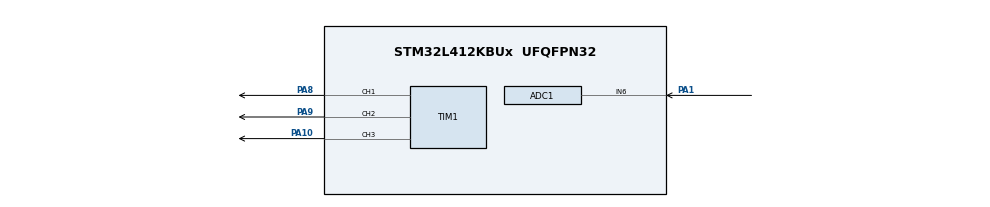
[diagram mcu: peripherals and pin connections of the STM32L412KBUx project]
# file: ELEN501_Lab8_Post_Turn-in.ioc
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ADC1.Channel-4\#ChannelRegularConversion=ADC_CHANNEL_6
ADC1.ExternalTrigConv=ADC_EXTERNALTRIG_T6_TRGO
ADC1.NbrOfConversionFlag=1
ADC1.OffsetNumber-4\#ChannelRegularConversion=ADC_OFFSET_NONE
ADC1.Rank-4\#ChannelRegularConversion=1
ADC1.SamplingTime-4\#ChannelRegularConversion=ADC_SAMPLETIME_2CYCLES_5
ADC1.master=1
Dma.ADC1.0.Direction=DMA_PERIPH_TO_MEMORY
Dma.ADC1.0.Instance=DMA1_Channel1
Dma.ADC1.0.MemDataAlignment=DMA_MDATAALIGN_HALFWORD
Dma.ADC1.0.MemInc=DMA_MINC_ENABLE
Dma.ADC1.0.Mode=DMA_NORMAL
Dma.ADC1.0.PeriphDataAlignment=DMA_PDATAALIGN_HALFWORD
Dma.ADC1.0.PeriphInc=DMA_PINC_DISABLE
Dma.ADC1.0.Priority=DMA_PRIORITY_LOW
Dma.Request0=ADC1
Mcu.Family=STM32L4
Mcu.Name=STM32L412KBUx
Mcu.Package=UFQFPN32
NVIC.ADC1_2_IRQn=true\:0\:0\:false\:false\:true\:true\:true
NVIC.DMA1_Channel1_IRQn=true\:0\:0\:false\:false\:true\:false\:true
NVIC.PriorityGroup=NVIC_PRIORITYGROUP_4
PA1.Signal=ADCx_IN6
PA10.Signal=S_TIM1_CH3
PA8.Signal=S_TIM1_CH1
PA9.Signal=S_TIM1_CH2
ProjectManager.HeapSize=0x200
ProjectManager.StackSize=0x400
ProjectManager.TargetToolchain=EWARM V8.32
RCC.ADCFreq_Value=4000000
RCC.HSE_VALUE=8000000
RCC.HSI48_VALUE=48000000
RCC.HSI_VALUE=16000000
RCC.LSE_VALUE=32768
RCC.MSI_VALUE=4000000
RCC.USBFreq_Value=4000000
RCC.VCOOutputFreq_Value=32000000
SH.ADCx_IN6.0=ADC1_IN6,IN6-Single-Ended
SH.S_TIM1_CH1.0=TIM1_CH1,PWM Generation1 CH1
SH.S_TIM1_CH2.0=TIM1_CH2,PWM Generation2 CH2
SH.S_TIM1_CH3.0=TIM1_CH3,PWM Generation3 CH3
TIM1.Channel-PWM\ Generation1\ CH1=TIM_CHANNEL_1
TIM1.Channel-PWM\ Generation2\ CH2=TIM_CHANNEL_2
TIM1.Channel-PWM\ Generation3\ CH3=TIM_CHANNEL_3
TIM6.Period=150
TIM6.TIM_MasterOutputTrigger=TIM_TRGO_UPDATE
VP_TIM6_VS_ClockSourceINT.Mode=Enable_Timer
board=custom

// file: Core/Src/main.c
/* USER CODE BEGIN Header */
/**
  ******************************************************************************
  * @file           : main.c
  * @brief          : Main program body
  ******************************************************************************
  * @attention
  *
  * <h2><center>&copy; Copyright (c) 2021 STMicroelectronics.
  * All rights reserved.</center></h2>
  *
  * This software component is licensed by ST under BSD 3-Clause license,
  * the "License"; You may not use this file except in compliance with the
  * License. You may obtain a copy of the License at:
  *                        opensource.org/licenses/BSD-3-Clause
  *
  ******************************************************************************
  */
/* USER CODE END Header */
#include "main.h"

/* USER CODE BEGIN Includes */
#include "Scheduler.h"
#include "arm_math.h"
#include "arm_const_structs.h"
/* USER CODE END Includes */

/* USER CODE BEGIN PD */
#define RED_LED_PIN     GPIOA, GPIO_PIN_9
#define GREEN_LED_PIN   GPIOA, GPIO_PIN_10
#define BLUE_LED_PIN    GPIOA, GPIO_PIN_8
#define WAVEFORM_SIZE   2048
#define BUCKET_SIZE     WAVEFORM_SIZE/4
#define BUCKET_MINIMUM  35000
#define BUCKET_MAXIMUM  200000
#define DECAY_COUNT     2
#define DECAY_STEP      25
/* USER CODE END PD */

ADC_HandleTypeDef hadc1;
DMA_HandleTypeDef hdma_adc1;

TIM_HandleTypeDef htim1;
TIM_HandleTypeDef htim6;

/* USER CODE BEGIN PV */

uint16_t waveformInput[WAVEFORM_SIZE];
float32_t waveformCapture[WAVEFORM_SIZE/2];
float32_t waveformProcessed[BUCKET_SIZE];
uint8_t triggerWaveform = false;
uint8_t count = 0;
uint8_t subCount = 0;
uint8_t firstHalfCaptured = false;
uint8_t secondHalfCaptured = false;

uint32_t fftSize = BUCKET_SIZE;
uint32_t ifftFlag = 0;
uint32_t doBitReverse = 1;
uint32_t binIndex = 0;
uint32_t binRed;
uint32_t binGreen;
uint32_t binBlue;

uint16_t dutyRed;
uint16_t dutyGreen;
uint16_t dutyBlue;
uint16_t lastDutyRed;
uint16_t lastDutyGreen;
uint16_t lastDutyBlue;
uint8_t decayFlag;
uint16_t decayCount = DECAY_COUNT;

float32_t maxValue;
/* USER CODE END PV */

void SystemClock_Config(void);
static void MX_GPIO_Init(void);
static void MX_ADC1_Init(void);
static void MX_DMA_Init(void);
static void MX_TIM6_Init(void);
static void MX_TIM1_Init(void);
/* USER CODE BEGIN PFP */
void RGB_Process(float32_t *array);
void SetRedLedLevel(uint16_t r_level);
void SetGreenLedLevel(uint16_t g_level);
void SetBlueLedLevel(uint16_t b_level);
/* USER CODE END PFP */

/* USER CODE BEGIN 0 */
extern uint8_t ten_mS_Flag;
extern uint8_t twentyfive_mS_Flag;
extern uint8_t hundred_mS_Flag;
extern uint8_t one_S_Flag;

/* USER CODE END 0 */

int main(void)
{

  /* MCU Configuration--------------------------------------------------------*/

  /* Reset of all peripherals, Initializes the Flash interface and the Systick. */
  HAL_Init();

  /* Configure the system clock */
  SystemClock_Config();

  /* Initialize all configured peripherals */
  MX_GPIO_Init();
  MX_DMA_Init();
  MX_ADC1_Init();
  MX_TIM6_Init();
  MX_TIM1_Init();
  /* USER CODE BEGIN 2 */
  // Start timer for  DMA
  HAL_TIM_Base_Start(&htim6);

  // Start timer for Blue LED
  HAL_TIM_PWM_Start_IT(&htim1, TIM_CHANNEL_1);

  // Start timer for Red LED
  HAL_TIM_PWM_Start_IT(&htim1, TIM_CHANNEL_2);

  // Start timer for Green LED
  HAL_TIM_PWM_Start_IT(&htim1, TIM_CHANNEL_3);

  /* USER CODE END 2 */

  /* Infinite loop */
  /* USER CODE BEGIN WHILE */
  while (1)
  {
    if(ten_mS_Flag) {
      ten_mS_Flag = false;

    }

    if(twentyfive_mS_Flag) {
      twentyfive_mS_Flag = false;

      subCount++;

      // Wait 250ms before triggering DMA
      if(subCount == 10) {
        subCount = 0;
        HAL_ADC_Start_DMA(&hadc1, (uint32_t *) waveformInput, WAVEFORM_SIZE);
      }

      if(binRed < BUCKET_MINIMUM) {dutyRed = 0;}
      else if(binRed > BUCKET_MAXIMUM) {dutyRed = 65535;}
      else {dutyRed = binRed / 3;}

      // Only update the pwm if the new value is higher than the previous
      if(dutyRed > lastDutyRed) {lastDutyRed = dutyRed;}

      // Set green LED value
      if(binGreen < BUCKET_MINIMUM) {dutyGreen = 0;}
      else if(binGreen > BUCKET_MAXIMUM) {dutyGreen = 65535;}
      else {dutyGreen = binGreen / 3;}

      // Only update the pwm if the new value is higher than the previous
      if(dutyGreen > lastDutyGreen) {lastDutyGreen = dutyGreen;}

      // Set Blue LED value
      if(binBlue < BUCKET_MINIMUM) {dutyBlue = 0;}
      else if(binBlue > BUCKET_MAXIMUM) {dutyBlue = 65535;}
      else {dutyBlue = binBlue / 3;}

      // Only update the pwm if the new value is higher than the previous
      if(dutyBlue > lastDutyBlue) {lastDutyBlue = dutyBlue;}

    }

    // Process the first half of the DMA capture
    if(firstHalfCaptured) {
      firstHalfCaptured = false;

      for(uint16_t i = 0; i < WAVEFORM_SIZE/2; i++) {waveformCapture[i] = waveformInput[i] - 1980;}

      arm_cfft_f32(&arm_cfft_sR_f32_len512, waveformCapture, ifftFlag, doBitReverse);
      arm_cmplx_mag_f32(waveformCapture, waveformProcessed, fftSize);

      RGB_Process(waveformProcessed);
    }

    // Process the first half of the DMA capture
    if(secondHalfCaptured) {
      secondHalfCaptured = false;

      for(uint16_t i = WAVEFORM_SIZE/2; i < WAVEFORM_SIZE; i++) {waveformCapture[i-(WAVEFORM_SIZE/2)] = waveformInput[i] - 1980;}

      arm_cfft_f32(&arm_cfft_sR_f32_len512, waveformCapture, ifftFlag, doBitReverse);
      arm_cmplx_mag_f32(waveformCapture, waveformProcessed, fftSize);

      RGB_Process(waveformProcessed);
    }

    if(hundred_mS_Flag) {
      hundred_mS_Flag = false;

    }

    if(one_S_Flag) {
      one_S_Flag = false;

    }

    // Decay the current PWM values
    if(lastDutyRed > DECAY_STEP) {lastDutyRed -= DECAY_STEP;}
    else {lastDutyRed = 0;}
    if(lastDutyBlue > DECAY_STEP) {lastDutyBlue -= DECAY_STEP;}
    else {lastDutyBlue = 0;}
    if(lastDutyGreen > DECAY_STEP) {lastDutyGreen -= DECAY_STEP;}
    else {lastDutyGreen = 0;}

    // Update the LED PWMs
    SetRedLedLevel(lastDutyRed);
    SetGreenLedLevel(lastDutyGreen);
    SetBlueLedLevel(lastDutyBlue);
    /* USER CODE END WHILE */

  }
}

void SystemClock_Config(void)
{
  RCC_OscInitTypeDef RCC_OscInitStruct = {0};
  RCC_ClkInitTypeDef RCC_ClkInitStruct = {0};

  /** Configure the main internal regulator output voltage
  */
  if (HAL_PWREx_ControlVoltageScaling(PWR_REGULATOR_VOLTAGE_SCALE1) != HAL_OK)
  {
    Error_Handler();
  }
  /** Initializes the RCC Oscillators according to the specified parameters
  * in the RCC_OscInitTypeDef structure.
  */
  RCC_OscInitStruct.OscillatorType = RCC_OSCILLATORTYPE_MSI;
  RCC_OscInitStruct.MSIState = RCC_MSI_ON;
  RCC_OscInitStruct.MSICalibrationValue = 0;
  RCC_OscInitStruct.MSIClockRange = RCC_MSIRANGE_6;
  RCC_OscInitStruct.PLL.PLLState = RCC_PLL_NONE;
  if (HAL_RCC_OscConfig(&RCC_OscInitStruct) != HAL_OK)
  {
    Error_Handler();
  }
  /** Initializes the CPU, AHB and APB buses clocks
  */
  RCC_ClkInitStruct.ClockType = RCC_CLOCKTYPE_HCLK|RCC_CLOCKTYPE_SYSCLK
                              |RCC_CLOCKTYPE_PCLK1|RCC_CLOCKTYPE_PCLK2;
  RCC_ClkInitStruct.SYSCLKSource = RCC_SYSCLKSOURCE_MSI;
  RCC_ClkInitStruct.AHBCLKDivider = RCC_SYSCLK_DIV1;
  RCC_ClkInitStruct.APB1CLKDivider = RCC_HCLK_DIV1;
  RCC_ClkInitStruct.APB2CLKDivider = RCC_HCLK_DIV1;

  if (HAL_RCC_ClockConfig(&RCC_ClkInitStruct, FLASH_LATENCY_0) != HAL_OK)
  {
    Error_Handler();
  }
}

static void MX_ADC1_Init(void)
{

  ADC_MultiModeTypeDef multimode = {0};
  ADC_ChannelConfTypeDef sConfig = {0};

  /** Common config
  */
  hadc1.Instance = ADC1;
  hadc1.Init.ClockPrescaler = ADC_CLOCK_ASYNC_DIV1;
  hadc1.Init.Resolution = ADC_RESOLUTION_12B;
  hadc1.Init.DataAlign = ADC_DATAALIGN_RIGHT;
  hadc1.Init.ScanConvMode = ADC_SCAN_DISABLE;
  hadc1.Init.EOCSelection = ADC_EOC_SINGLE_CONV;
  hadc1.Init.LowPowerAutoWait = DISABLE;
  hadc1.Init.ContinuousConvMode = DISABLE;
  hadc1.Init.NbrOfConversion = 1;
  hadc1.Init.DiscontinuousConvMode = DISABLE;
  hadc1.Init.ExternalTrigConv = ADC_EXTERNALTRIG_T6_TRGO;
  hadc1.Init.ExternalTrigConvEdge = ADC_EXTERNALTRIGCONVEDGE_RISING;
  hadc1.Init.DMAContinuousRequests = DISABLE;
  hadc1.Init.Overrun = ADC_OVR_DATA_PRESERVED;
  hadc1.Init.OversamplingMode = DISABLE;
  if (HAL_ADC_Init(&hadc1) != HAL_OK)
  {
    Error_Handler();
  }
  /** Configure the ADC multi-mode
  */
  multimode.Mode = ADC_MODE_INDEPENDENT;
  if (HAL_ADCEx_MultiModeConfigChannel(&hadc1, &multimode) != HAL_OK)
  {
    Error_Handler();
  }
  /** Configure Regular Channel
  */
  sConfig.Channel = ADC_CHANNEL_6;
  sConfig.Rank = ADC_REGULAR_RANK_1;
  sConfig.SamplingTime = ADC_SAMPLETIME_2CYCLES_5;
  sConfig.SingleDiff = ADC_SINGLE_ENDED;
  sConfig.OffsetNumber = ADC_OFFSET_NONE;
  sConfig.Offset = 0;
  if (HAL_ADC_ConfigChannel(&hadc1, &sConfig) != HAL_OK)
  {
    Error_Handler();
  }

}

static void MX_TIM1_Init(void)
{

  TIM_MasterConfigTypeDef sMasterConfig = {0};
  TIM_OC_InitTypeDef sConfigOC = {0};
  TIM_BreakDeadTimeConfigTypeDef sBreakDeadTimeConfig = {0};

  htim1.Instance = TIM1;
  htim1.Init.Prescaler = 0;
  htim1.Init.CounterMode = TIM_COUNTERMODE_UP;
  htim1.Init.Period = 65535;
  htim1.Init.ClockDivision = TIM_CLOCKDIVISION_DIV1;
  htim1.Init.RepetitionCounter = 0;
  htim1.Init.AutoReloadPreload = TIM_AUTORELOAD_PRELOAD_DISABLE;
  if (HAL_TIM_PWM_Init(&htim1) != HAL_OK)
  {
    Error_Handler();
  }
  sMasterConfig.MasterOutputTrigger = TIM_TRGO_RESET;
  sMasterConfig.MasterOutputTrigger2 = TIM_TRGO2_RESET;
  sMasterConfig.MasterSlaveMode = TIM_MASTERSLAVEMODE_DISABLE;
  if (HAL_TIMEx_MasterConfigSynchronization(&htim1, &sMasterConfig) != HAL_OK)
  {
    Error_Handler();
  }
  sConfigOC.OCMode = TIM_OCMODE_PWM1;
  sConfigOC.Pulse = 0;
  sConfigOC.OCPolarity = TIM_OCPOLARITY_HIGH;
  sConfigOC.OCNPolarity = TIM_OCNPOLARITY_HIGH;
  sConfigOC.OCFastMode = TIM_OCFAST_DISABLE;
  sConfigOC.OCIdleState = TIM_OCIDLESTATE_RESET;
  sConfigOC.OCNIdleState = TIM_OCNIDLESTATE_RESET;
  if (HAL_TIM_PWM_ConfigChannel(&htim1, &sConfigOC, TIM_CHANNEL_1) != HAL_OK)
  {
    Error_Handler();
  }
  if (HAL_TIM_PWM_ConfigChannel(&htim1, &sConfigOC, TIM_CHANNEL_2) != HAL_OK)
  {
    Error_Handler();
  }
  if (HAL_TIM_PWM_ConfigChannel(&htim1, &sConfigOC, TIM_CHANNEL_3) != HAL_OK)
  {
    Error_Handler();
  }
  sBreakDeadTimeConfig.OffStateRunMode = TIM_OSSR_DISABLE;
  sBreakDeadTimeConfig.OffStateIDLEMode = TIM_OSSI_DISABLE;
  sBreakDeadTimeConfig.LockLevel = TIM_LOCKLEVEL_OFF;
  sBreakDeadTimeConfig.DeadTime = 0;
  sBreakDeadTimeConfig.BreakState = TIM_BREAK_DISABLE;
  sBreakDeadTimeConfig.BreakPolarity = TIM_BREAKPOLARITY_HIGH;
  sBreakDeadTimeConfig.BreakFilter = 0;
  sBreakDeadTimeConfig.Break2State = TIM_BREAK2_DISABLE;
  sBreakDeadTimeConfig.Break2Polarity = TIM_BREAK2POLARITY_HIGH;
  sBreakDeadTimeConfig.Break2Filter = 0;
  sBreakDeadTimeConfig.AutomaticOutput = TIM_AUTOMATICOUTPUT_DISABLE;
  if (HAL_TIMEx_ConfigBreakDeadTime(&htim1, &sBreakDeadTimeConfig) != HAL_OK)
  {
    Error_Handler();
  }
  HAL_TIM_MspPostInit(&htim1);

}

static void MX_TIM6_Init(void)
{

  TIM_MasterConfigTypeDef sMasterConfig = {0};

  htim6.Instance = TIM6;
  htim6.Init.Prescaler = 0;
  htim6.Init.CounterMode = TIM_COUNTERMODE_UP;
  htim6.Init.Period = 150;
  htim6.Init.AutoReloadPreload = TIM_AUTORELOAD_PRELOAD_DISABLE;
  if (HAL_TIM_Base_Init(&htim6) != HAL_OK)
  {
    Error_Handler();
  }
  sMasterConfig.MasterOutputTrigger = TIM_TRGO_UPDATE;
  sMasterConfig.MasterSlaveMode = TIM_MASTERSLAVEMODE_DISABLE;
  if (HAL_TIMEx_MasterConfigSynchronization(&htim6, &sMasterConfig) != HAL_OK)
  {
    Error_Handler();
  }

}

static void MX_DMA_Init(void)
{

  /* DMA controller clock enable */
  __HAL_RCC_DMA1_CLK_ENABLE();

  /* DMA interrupt init */
  /* DMA1_Channel1_IRQn interrupt configuration */
  HAL_NVIC_SetPriority(DMA1_Channel1_IRQn, 0, 0);
  HAL_NVIC_EnableIRQ(DMA1_Channel1_IRQn);

}

static void MX_GPIO_Init(void)
{

  /* GPIO Ports Clock Enable */
  __HAL_RCC_GPIOA_CLK_ENABLE();

}

/* USER CODE BEGIN 4 */
void RGB_Process(float32_t *array) {
  uint16_t i = 0;
  binRed = 0;
  binGreen = 0;
  binBlue = 0;
  // Calculate red bucket
  for(i = 0; i < (BUCKET_SIZE/4); i++) {
    binRed += array[i];
  }

  // Calculate green bucket
  for(i = BUCKET_SIZE/4; i < (BUCKET_SIZE-(BUCKET_SIZE/4)); i++) {
    binGreen += array[i];
  }

  // Calculate blue bucket
  for(i = (BUCKET_SIZE-(BUCKET_SIZE/4)); i < BUCKET_SIZE; i++ ) {
    binBlue += array[i];
  }
}

void SetRedLedLevel(uint16_t r_level)
{
  TIM_OC_InitTypeDef sConfigOC = {0};
  //redValue = r_level;

  sConfigOC.OCMode = TIM_OCMODE_PWM1;
  sConfigOC.Pulse = r_level;
  sConfigOC.OCPolarity = TIM_OCPOLARITY_HIGH;
  sConfigOC.OCNPolarity = TIM_OCNPOLARITY_HIGH;
  sConfigOC.OCFastMode = TIM_OCFAST_DISABLE;
  sConfigOC.OCIdleState = TIM_OCIDLESTATE_RESET;
  sConfigOC.OCNIdleState = TIM_OCNIDLESTATE_RESET;

  HAL_TIM_PWM_Stop(&htim1, TIM_CHANNEL_2);
  HAL_TIM_PWM_ConfigChannel(&htim1, &sConfigOC, TIM_CHANNEL_2);
  HAL_TIM_PWM_Start(&htim1, TIM_CHANNEL_2);
}

void SetBlueLedLevel(uint16_t b_level)
{
  TIM_OC_InitTypeDef sConfigOC = {0};
  //blueValue = b_level;

  sConfigOC.OCMode = TIM_OCMODE_PWM1;
  sConfigOC.Pulse = b_level;
  sConfigOC.OCPolarity = TIM_OCPOLARITY_HIGH;
  sConfigOC.OCNPolarity = TIM_OCNPOLARITY_HIGH;
  sConfigOC.OCFastMode = TIM_OCFAST_DISABLE;
  sConfigOC.OCIdleState = TIM_OCIDLESTATE_RESET;
  sConfigOC.OCNIdleState = TIM_OCNIDLESTATE_RESET;

  HAL_TIM_PWM_Stop(&htim1, TIM_CHANNEL_1);
  HAL_TIM_PWM_ConfigChannel(&htim1, &sConfigOC, TIM_CHANNEL_1);
  HAL_TIM_PWM_Start(&htim1, TIM_CHANNEL_1);
}

void SetGreenLedLevel(uint16_t g_level)
{
  TIM_OC_InitTypeDef sConfigOC = {0};
  //greenValue = g_level;

  sConfigOC.OCMode = TIM_OCMODE_PWM1;
  sConfigOC.Pulse = g_level;
  sConfigOC.OCPolarity = TIM_OCPOLARITY_HIGH;
  sConfigOC.OCFastMode = TIM_OCFAST_DISABLE;

  HAL_TIM_PWM_Stop(&htim1, TIM_CHANNEL_3);
  HAL_TIM_PWM_ConfigChannel(&htim1, &sConfigOC, TIM_CHANNEL_3);
  HAL_TIM_PWM_Start(&htim1, TIM_CHANNEL_3);
}
/* USER CODE END 4 */

void Error_Handler(void)
{
  __disable_irq();
  while (1)
  {
  }
}

/************************ (C) COPYRIGHT STMicroelectronics *****END OF FILE****/
